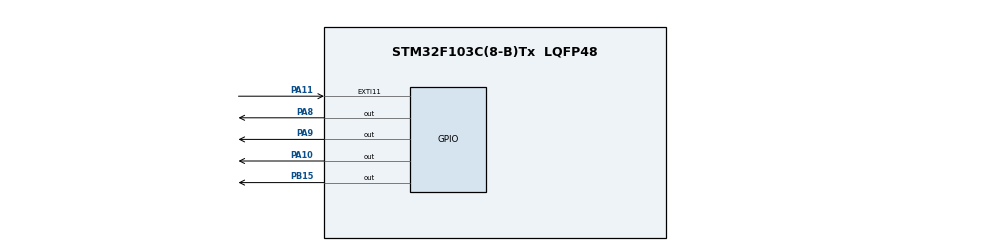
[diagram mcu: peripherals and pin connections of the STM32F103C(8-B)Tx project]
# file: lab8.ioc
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FREERTOS.Queues01=myQueue01,16,uint16_t,0,Dynamic,NULL,NULL;myQueue02,16,uint16_t,0,Dynamic,NULL,NULL;myQueue03,16,uint16_t,0,Dynamic,NULL,NULL;myQueue04,16,uint16_t,0,Dynamic,NULL,NULL
FREERTOS.Tasks01=defaultTask,16,128,StartDefaultTask,Default,NULL,Dynamic,NULL,NULL;BlinkLed1,8,128,StartBlinkLed1,Default,NULL,Dynamic,NULL,NULL;BlinkLed2,8,128,StartBlinkLed2,Default,NULL,Dynamic,NULL,NULL;BlinkLed3,8,128,StartBlinkLed3,Default,NULL,Dynamic,NULL,NULL
Mcu.Family=STM32F1
Mcu.Name=STM32F103C(8-B)Tx
Mcu.Package=LQFP48
NVIC.EXTI15_10_IRQn=true\:5\:0\:false\:false\:true\:true\:true\:true\:true
NVIC.PriorityGroup=NVIC_PRIORITYGROUP_4
PA10.Signal=GPIO_Output
PA11.Signal=GPXTI11
PA13.Mode=Serial_Wire
PA13.Signal=SYS_JTMS-SWDIO
PA14.Mode=Serial_Wire
PA14.Signal=SYS_JTCK-SWCLK
PA8.Signal=GPIO_Output
PA9.Signal=GPIO_Output
PB15.Signal=GPIO_Output
PC14-OSC32_IN.Mode=LSE-External-Clock-Source
PC14-OSC32_IN.Signal=RCC_OSC32_IN
PC15-OSC32_OUT.Mode=LSE-External-Clock-Source
PC15-OSC32_OUT.Signal=RCC_OSC32_OUT
PD0-OSC_IN.Mode=HSE-External-Clock-Source
PD0-OSC_IN.Signal=RCC_OSC_IN
PD1-OSC_OUT.Mode=HSE-External-Clock-Source
PD1-OSC_OUT.Signal=RCC_OSC_OUT
ProjectManager.HeapSize=0x200
ProjectManager.StackSize=0x400
ProjectManager.TargetToolchain=STM32CubeIDE
RCC.APB1Freq_Value=8000000
RCC.APB2Freq_Value=8000000
VP_FREERTOS_VS_CMSIS_V2.Mode=CMSIS_V2
board=custom

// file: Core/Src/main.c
/* USER CODE BEGIN Header */
/**
  ******************************************************************************
  * @file           : main.c
  * @brief          : Main program body
  ******************************************************************************
  * @attention
  *
  * Copyright (c) 2026 STMicroelectronics.
  * All rights reserved.
  *
  * This software is licensed under terms that can be found in the LICENSE file
  * in the root directory of this software component.
  * If no LICENSE file comes with this software, it is provided AS-IS.
  *
  ******************************************************************************
  *
  *variant 4 - Blink 4 leds in separate threads,
  *button changes blink freq
  *transfer new freq between threads from 1 to 4
  *
  *CONNECTIONS
  *led0 - PB15
  *led1 - PA8
  *led2 - PA9
  *led3 - PA10
  *button - PA11
  *
  */
/* USER CODE END Header */
#include "main.h"
#include "cmsis_os.h"

/* Definitions for defaultTask */
osThreadId_t defaultTaskHandle;
const osThreadAttr_t defaultTask_attributes = {
  .name = "defaultTask",
  .stack_size = 128 * 4,
  .priority = (osPriority_t) osPriorityBelowNormal,
};
/* Definitions for BlinkLed1 */
osThreadId_t BlinkLed1Handle;
const osThreadAttr_t BlinkLed1_attributes = {
  .name = "BlinkLed1",
  .stack_size = 128 * 4,
  .priority = (osPriority_t) osPriorityLow,
};
/* Definitions for BlinkLed2 */
osThreadId_t BlinkLed2Handle;
const osThreadAttr_t BlinkLed2_attributes = {
  .name = "BlinkLed2",
  .stack_size = 128 * 4,
  .priority = (osPriority_t) osPriorityLow,
};
/* Definitions for BlinkLed3 */
osThreadId_t BlinkLed3Handle;
const osThreadAttr_t BlinkLed3_attributes = {
  .name = "BlinkLed3",
  .stack_size = 128 * 4,
  .priority = (osPriority_t) osPriorityLow,
};
/* Definitions for myQueue01 */
osMessageQueueId_t myQueue01Handle;
const osMessageQueueAttr_t myQueue01_attributes = {
  .name = "myQueue01"
};
/* Definitions for myQueue02 */
osMessageQueueId_t myQueue02Handle;
const osMessageQueueAttr_t myQueue02_attributes = {
  .name = "myQueue02"
};
/* Definitions for myQueue03 */
osMessageQueueId_t myQueue03Handle;
const osMessageQueueAttr_t myQueue03_attributes = {
  .name = "myQueue03"
};
/* Definitions for myQueue04 */
osMessageQueueId_t myQueue04Handle;
const osMessageQueueAttr_t myQueue04_attributes = {
  .name = "myQueue04"
};

void SystemClock_Config(void);
static void MX_GPIO_Init(void);
void StartDefaultTask(void *argument);
void StartBlinkLed1(void *argument);
void StartBlinkLed2(void *argument);
void StartBlinkLed3(void *argument);

/* USER CODE BEGIN 0 */
volatile uint32_t lastISR = 0;
uint16_t delay = 50;
void HAL_GPIO_EXTI_Callback(uint16_t GPIO_Pin)
{
	//program debounce
	if(HAL_GetTick() - lastISR >= 200)
	{
		lastISR = HAL_GetTick();
		if(GPIO_Pin == GPIO_PIN_11)
		{
			delay = (delay + 400)%1000;
			osMessageQueuePut(myQueue01Handle, &delay, 0, 0);
		}
	}
}

/* USER CODE END 0 */

int main(void)
{

  /* MCU Configuration--------------------------------------------------------*/

  /* Reset of all peripherals, Initializes the Flash interface and the Systick. */
  HAL_Init();

  /* Configure the system clock */
  SystemClock_Config();

  /* Initialize all configured peripherals */
  MX_GPIO_Init();

  /* Init scheduler */
  osKernelInitialize();

  /* Create the queue(s) */
  /* creation of myQueue01 */
  myQueue01Handle = osMessageQueueNew (16, sizeof(uint16_t), &myQueue01_attributes);

  /* creation of myQueue02 */
  myQueue02Handle = osMessageQueueNew (16, sizeof(uint16_t), &myQueue02_attributes);

  /* creation of myQueue03 */
  myQueue03Handle = osMessageQueueNew (16, sizeof(uint16_t), &myQueue03_attributes);

  /* creation of myQueue04 */
  myQueue04Handle = osMessageQueueNew (16, sizeof(uint16_t), &myQueue04_attributes);

  /* Create the thread(s) */
  /* creation of defaultTask */
  defaultTaskHandle = osThreadNew(StartDefaultTask, NULL, &defaultTask_attributes);

  /* creation of BlinkLed1 */
  BlinkLed1Handle = osThreadNew(StartBlinkLed1, NULL, &BlinkLed1_attributes);

  /* creation of BlinkLed2 */
  BlinkLed2Handle = osThreadNew(StartBlinkLed2, NULL, &BlinkLed2_attributes);

  /* creation of BlinkLed3 */
  BlinkLed3Handle = osThreadNew(StartBlinkLed3, NULL, &BlinkLed3_attributes);

  /* Start scheduler */
  osKernelStart();

  /* We should never get here as control is now taken by the scheduler */

  /* Infinite loop */
  while (1)
  {

  }
}

void SystemClock_Config(void)
{
  RCC_OscInitTypeDef RCC_OscInitStruct = {0};
  RCC_ClkInitTypeDef RCC_ClkInitStruct = {0};

  /** Initializes the RCC Oscillators according to the specified parameters
  * in the RCC_OscInitTypeDef structure.
  */
  RCC_OscInitStruct.OscillatorType = RCC_OSCILLATORTYPE_HSI;
  RCC_OscInitStruct.HSIState = RCC_HSI_ON;
  RCC_OscInitStruct.HSICalibrationValue = RCC_HSICALIBRATION_DEFAULT;
  RCC_OscInitStruct.PLL.PLLState = RCC_PLL_NONE;
  if (HAL_RCC_OscConfig(&RCC_OscInitStruct) != HAL_OK)
  {
    Error_Handler();
  }

  /** Initializes the CPU, AHB and APB buses clocks
  */
  RCC_ClkInitStruct.ClockType = RCC_CLOCKTYPE_HCLK|RCC_CLOCKTYPE_SYSCLK
                              |RCC_CLOCKTYPE_PCLK1|RCC_CLOCKTYPE_PCLK2;
  RCC_ClkInitStruct.SYSCLKSource = RCC_SYSCLKSOURCE_HSI;
  RCC_ClkInitStruct.AHBCLKDivider = RCC_SYSCLK_DIV1;
  RCC_ClkInitStruct.APB1CLKDivider = RCC_HCLK_DIV1;
  RCC_ClkInitStruct.APB2CLKDivider = RCC_HCLK_DIV1;

  if (HAL_RCC_ClockConfig(&RCC_ClkInitStruct, FLASH_LATENCY_0) != HAL_OK)
  {
    Error_Handler();
  }
}

static void MX_GPIO_Init(void)
{
  GPIO_InitTypeDef GPIO_InitStruct = {0};

  /* GPIO Ports Clock Enable */
  __HAL_RCC_GPIOC_CLK_ENABLE();
  __HAL_RCC_GPIOD_CLK_ENABLE();
  __HAL_RCC_GPIOB_CLK_ENABLE();
  __HAL_RCC_GPIOA_CLK_ENABLE();

  /*Configure GPIO pin Output Level */
  HAL_GPIO_WritePin(GPIOB, GPIO_PIN_15, GPIO_PIN_RESET);

  /*Configure GPIO pin Output Level */
  HAL_GPIO_WritePin(GPIOA, GPIO_PIN_8|GPIO_PIN_9|GPIO_PIN_10, GPIO_PIN_RESET);

  /*Configure GPIO pin : PB15 */
  GPIO_InitStruct.Pin = GPIO_PIN_15;
  GPIO_InitStruct.Mode = GPIO_MODE_OUTPUT_PP;
  GPIO_InitStruct.Pull = GPIO_NOPULL;
  GPIO_InitStruct.Speed = GPIO_SPEED_FREQ_LOW;
  HAL_GPIO_Init(GPIOB, &GPIO_InitStruct);

  /*Configure GPIO pins : PA8 PA9 PA10 */
  GPIO_InitStruct.Pin = GPIO_PIN_8|GPIO_PIN_9|GPIO_PIN_10;
  GPIO_InitStruct.Mode = GPIO_MODE_OUTPUT_PP;
  GPIO_InitStruct.Pull = GPIO_NOPULL;
  GPIO_InitStruct.Speed = GPIO_SPEED_FREQ_LOW;
  HAL_GPIO_Init(GPIOA, &GPIO_InitStruct);

  /*Configure GPIO pin : PA11 */
  GPIO_InitStruct.Pin = GPIO_PIN_11;
  GPIO_InitStruct.Mode = GPIO_MODE_IT_RISING;
  GPIO_InitStruct.Pull = GPIO_NOPULL;
  HAL_GPIO_Init(GPIOA, &GPIO_InitStruct);

  /* EXTI interrupt init*/
  HAL_NVIC_SetPriority(EXTI15_10_IRQn, 5, 0);
  HAL_NVIC_EnableIRQ(EXTI15_10_IRQn);

}

void StartDefaultTask(void *argument)
{
  /* USER CODE BEGIN 5 */
  /* Infinite loop */
  uint16_t newDelay = 100;
  for(;;)
  {
	  HAL_GPIO_WritePin(GPIOB, GPIO_PIN_15, GPIO_PIN_SET);
	  osDelay(newDelay);
	  HAL_GPIO_WritePin(GPIOB, GPIO_PIN_15, GPIO_PIN_RESET);
	  osDelay(newDelay);

//	  if(xQueueReceive((QueueHandle_t)myQueue01Handle, &newDelay, 0) == pdPASS)
//	  {
//
//	  }

	  if(osMessageQueueGet(myQueue01Handle, &newDelay, NULL, 0) == osOK)
	  {
		  // Pass it down the chain to LED 1
		  osMessageQueuePut(myQueue02Handle, &newDelay, 0, 0);
	  }
  }
  /* USER CODE END 5 */
}

void StartBlinkLed1(void *argument)
{
  /* USER CODE BEGIN StartBlinkLed1 */
  /* Infinite loop */
  uint16_t newDelay = 100;

  for(;;)
  {
	  HAL_GPIO_WritePin(GPIOA, GPIO_PIN_8, GPIO_PIN_SET);
	  osDelay(newDelay);
	  HAL_GPIO_WritePin(GPIOA, GPIO_PIN_8, GPIO_PIN_RESET);
	  osDelay(newDelay);

	  if(osMessageQueueGet(myQueue02Handle, &newDelay, NULL, 0) == osOK)
	  {
		  // Pass it down the chain to LED 2
		  osMessageQueuePut(myQueue03Handle, &newDelay, 0, 0);
	  }
  }
  /* USER CODE END StartBlinkLed1 */
}

void StartBlinkLed2(void *argument)
{
  /* USER CODE BEGIN StartBlinkLed2 */
  /* Infinite loop */
  uint16_t newDelay = 100;

  for(;;)
  {
	  HAL_GPIO_WritePin(GPIOA, GPIO_PIN_9, GPIO_PIN_SET);
	  osDelay(newDelay);
	  HAL_GPIO_WritePin(GPIOA, GPIO_PIN_9, GPIO_PIN_RESET);
	  osDelay(newDelay);

	  if(osMessageQueueGet(myQueue03Handle, &newDelay, NULL, 0) == osOK)
	  {
		  // Pass it down the chain to LED 3
		  osMessageQueuePut(myQueue04Handle, &newDelay, 0, 0);
	  }
  }
  /* USER CODE END StartBlinkLed2 */
}

void StartBlinkLed3(void *argument)
{
  /* USER CODE BEGIN StartBlinkLed3 */
  /* Infinite loop */
  uint16_t newDelay = 100;

  for(;;)
  {
	  HAL_GPIO_WritePin(GPIOA, GPIO_PIN_10, GPIO_PIN_SET);
	  osDelay(newDelay);
	  HAL_GPIO_WritePin(GPIOA, GPIO_PIN_10, GPIO_PIN_RESET);
	  osDelay(newDelay);

	  if(osMessageQueueGet(myQueue04Handle, &newDelay, NULL, 0) == osOK)
	  {

	  }
  }
  /* USER CODE END StartBlinkLed3 */
}

void Error_Handler(void)
{
  __disable_irq();
  while (1)
  {
  }
}
